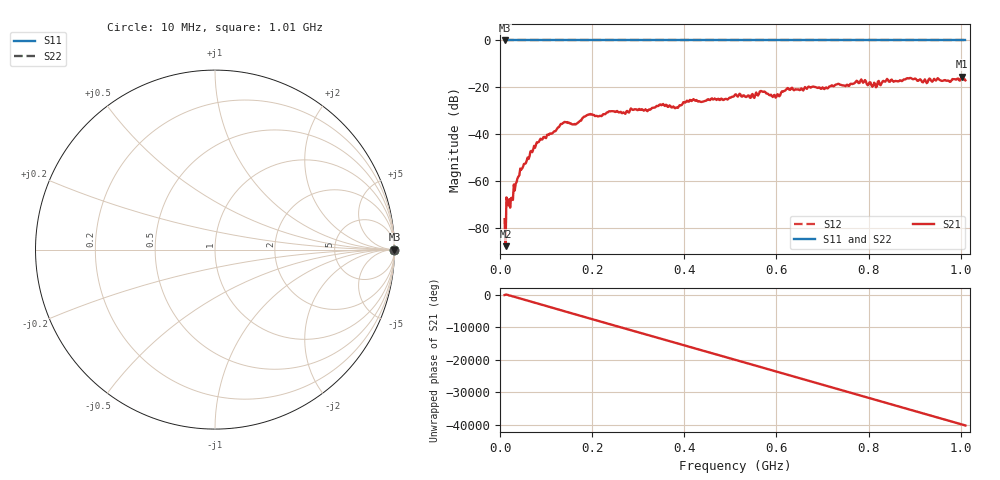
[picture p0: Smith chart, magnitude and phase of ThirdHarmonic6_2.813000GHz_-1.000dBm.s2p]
! 8/17/2025 7:24:06 AM
! C:\ANRITSUVNA\TEMP\TEMP.S2P
! CHANNEL.1
! TR.MEASUREMENT
! RAW.DATA
! RF.CORRECTION.OFF
! AVERAGING.OFF
! IF.BANDWIDTH: 5KHZ
! SWEEPTYPE:  FREQ.SWEEP(Linear)
! Reference Plane Port Info
! PORT:  PORT1  PORT2
! DISTANCE:  0  m  0  m
! TIME:  0  s  0  s
! PHASE.OFFSET:  0  deg.  0  deg.
! LOSS:  0  dB  0  dB
! REF.LOSS:  0  dB  0  dB
! REF.FREQ:  0  Hz  0  Hz
! Power Info
! POWER:  -20  dBm  -20  dBm
! EFF.POWER:  -20  dBm  -20  dBm
! SOURCE.ATTEN:  0  dB  0  dB
! TEST.ATTEN:  0  dB  0  dB
# GHZ S RI R 50.0
! FREQ.GHZ  S11RE  S11IM  S21RE  S21IM  S12RE  S12IM  S22RE  S22IM
!; PortSelection: Port_12
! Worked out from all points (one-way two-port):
!   501 points, 10 MHz to 1.01 GHz, reference 50 ohm
!   highest |S21| = -15.37 dB at 1.002 GHz (marker M1); lowest = -87.7 dB at 12 MHz (marker M2)
!   lowest |S11| = 0.0 dB at 10 MHz (marker M3)
!   |S11| at or under -10 dB: nowhere
!   |S22| runs from 0.0 to 0.0 dB; largest |S21 - S12| = 1.2
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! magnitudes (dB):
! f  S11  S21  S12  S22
! 10 MHz  0.0  -76.2  0.0  0.0
! 12 MHz  0.0  -87.7  0.0  0.0
! 18 MHz  0.0  -70.3  0.0  0.0
! 48 MHz  0.0  -54.6  0.0  0.0
! 84 MHz  0.0  -43.3  0.0  0.0
! 136 MHz  0.0  -35.3  0.0  0.0
! 162 MHz  0.0  -35.6  0.0  0.0
! 178 MHz  0.0  -33.4  0.0  0.0
! 344 MHz  0.0  -27.9  0.0  0.0
! 382 MHz  0.0  -28.6  0.0  0.0
! 416 MHz  0.0  -25.8  0.0  0.0
! 510 MHz  0.0  -23.1  0.0  0.0
! 548 MHz  0.0  -22.8  0.0  0.0
! 568 MHz  0.0  -21.6  0.0  0.0
! 596 MHz  0.0  -23.2  0.0  0.0
! 622 MHz  0.0  -20.7  0.0  0.0
! 678 MHz  0.0  -19.7  0.0  0.0
! 788 MHz  0.0  -18.0  0.0  0.0
! 812 MHz  0.0  -18.0  0.0  0.0
! 844 MHz  0.0  -17.6  0.0  0.0
! 1.002 GHz  0.0  -15.4  0.0  0.0
! 1.01 GHz  0.0  -17.0  0.0  0.0
